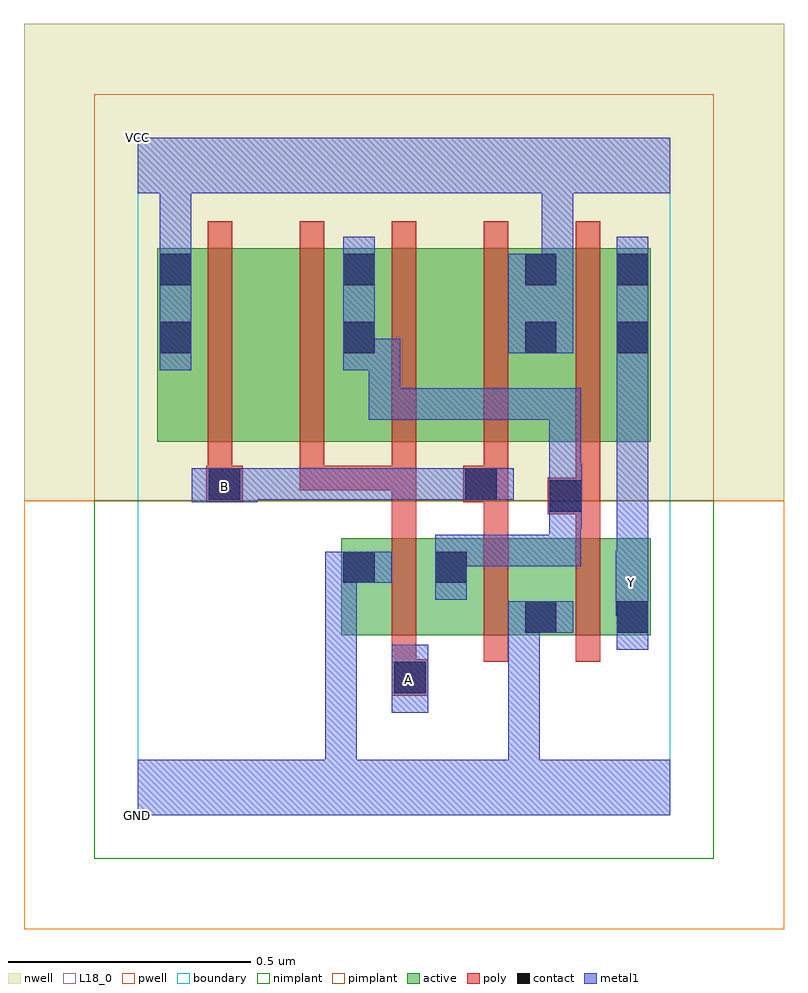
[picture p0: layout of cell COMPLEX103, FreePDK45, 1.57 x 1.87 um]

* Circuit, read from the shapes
.subckt COMPLEX103 A B GND VCC Y
M1 n1 A GND VSUBS nfet w=0.2u l=0.05u
M2 GND B n1 VSUBS nfet w=0.2u l=0.05u
M3 Y n1 GND VSUBS nfet w=0.2u l=0.05u
M4 n2 B VCC n3 pfet w=0.4u l=0.05u
M5 n1 A n2 n3 pfet w=0.4u l=0.05u
M6 n4 A n1 n3 pfet w=0.4u l=0.05u
M7 VCC B n4 n3 pfet w=0.4u l=0.05u
M8 Y n1 VCC n3 pfet w=0.4u l=0.05u
.ends

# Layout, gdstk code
import gdstk
lib = gdstk.Library(unit=1e-6, precision=1e-09)
def R(c, l, rs):  # rectangles x0, y0, x1, y1
    for r in rs: c.add(gdstk.rectangle(r[:2], r[2:], *l))
def A(c, l, x, y, w, h, nx, ny, dx, dy):  # array of equal rectangles
    R(c, l, [(x+i*dx, y+j*dy, x+i*dx+w, y+j*dy+h) for i in range(nx) for j in range(ny)])
active = (1, 0)
pwell = (2, 0)
nwell = (3, 0)
nimplant = (4, 0)
pimplant = (5, 0)
poly = (9, 0)
contact = (10, 0)
metal1 = (11, 0)
L18_0 = (18, 0)
boundary = (235, 0)

complex103 = lib.new_cell('COMPLEX103')
R(complex103, active, [(0.42,0.372,0.495,0.572), (0.42,0.372,0.685,0.572), (0.61,0.372,0.685,0.572), (0.61,0.372,0.87,0.572), (0.795,0.372,1.06,0.572), (0.795,0.372,0.87,0.447), (0.985,0.372,1.06,0.572), (0.04,0.772,0.265,1.172), (0.04,0.772,0.115,1.172), (0.265,0.772,0.495,1.172), (0.42,0.772,0.495,1.165), (0.42,0.772,0.645,1.172), (0.645,0.772,0.87,1.172), (0.795,0.772,1.06,1.172), (0.985,0.772,1.06,1.165), (0.795,0.835,0.87,1.172)])
R(complex103, pwell, [(-0.235,-0.235,1.335,0.65)])
R(complex103, nwell, [(-0.235,0.65,1.335,1.635)])
R(complex103, nimplant, [(-0.09,-0.09,1.19,0.65)])
R(complex103, pimplant, [(-0.09,0.65,1.19,1.49)])
A(complex103, poly, 0.145, 0.672, 0.05, 0.095, 4, 1, 0.19, 0)
A(complex103, poly, 0.145, 0.717, 0.05, 0.51, 5, 1, 0.19, 0)
R(complex103, poly, [(0.525,0.247,0.6,0.322), (0.525,0.272,0.575,0.367), (0.525,0.317,0.575,0.627), (0.715,0.317,0.765,0.627), (0.905,0.317,0.955,0.672), (0.525,0.577,0.575,0.722), (0.715,0.577,0.765,0.697), (0.847,0.622,0.955,0.697), (0.905,0.622,0.955,0.672), (0.142,0.647,0.217,0.722), (0.672,0.647,0.765,0.722), (0.905,0.647,0.955,0.767), (0.335,0.672,0.385,0.722), (0.335,0.672,0.385,0.722), (0.335,0.672,0.385,0.722), (0.335,0.672,0.575,0.722), (0.525,0.672,0.575,0.722)])
R(complex103, contact, [(0.53,0.252,0.595,0.317), (0.8,0.377,0.865,0.442), (0.99,0.377,1.055,0.442), (0.425,0.48,0.49,0.545), (0.615,0.48,0.68,0.545), (0.852,0.627,0.917,0.692), (0.147,0.652,0.212,0.717), (0.677,0.652,0.742,0.717), (0.045,0.955,0.11,1.02), (0.425,0.955,0.49,1.02), (0.8,0.955,0.865,1.02), (0.99,0.955,1.055,1.02), (0.045,1.095,0.11,1.16), (0.425,1.095,0.49,1.16), (0.8,1.095,0.865,1.16), (0.99,1.095,1.055,1.16)])
R(complex103, metal1, [(0,0,1.1,0.115), (0.387,0.05,0.452,0.115), (0.387,0.05,0.452,0.115), (0.387,0.05,0.452,0.115), (0.387,0.05,0.452,0.115), (0.387,0.05,0.452,0.545), (0.765,0.05,0.83,0.115), (0.765,0.05,0.83,0.115), (0.765,0.05,0.83,0.115), (0.765,0.05,0.83,0.115), (0.765,0.05,0.83,0.115), (0.765,0.05,0.83,0.115), (0.765,0.05,0.83,0.442), (0.525,0.212,0.6,0.352), (0.99,0.342,1.055,0.477), (0.765,0.377,0.9,0.442), (0.987,0.412,1.055,0.547), (0.99,0.412,1.055,0.477), (0.615,0.445,0.68,0.58), (0.387,0.48,0.452,0.545), (0.387,0.48,0.452,0.545), (0.387,0.48,0.525,0.545), (0.99,0.482,1.055,0.985), (0.615,0.515,0.68,0.58), (0.615,0.515,0.68,0.58), (0.615,0.515,0.915,0.58), (0.85,0.515,0.915,0.58), (0.85,0.515,0.915,0.727), (0.852,0.592,0.917,0.727), (0.112,0.647,0.247,0.717), (0.182,0.652,0.247,0.717), (0.182,0.652,0.247,0.717), (0.182,0.652,0.385,0.717), (0.32,0.652,0.385,0.717), (0.32,0.652,0.385,0.717), (0.32,0.652,0.385,0.717), (0.32,0.652,0.542,0.717), (0.477,0.652,0.542,0.717), (0.477,0.652,0.692,0.717), (0.627,0.652,0.692,0.717), (0.627,0.652,0.707,0.717), (0.642,0.652,0.777,0.717), (0.85,0.662,0.915,0.727), (0.85,0.662,0.917,0.727), (0.85,0.662,0.915,0.882), (0.477,0.817,0.692,0.882), (0.477,0.817,0.542,0.985), (0.627,0.817,0.692,0.882), (0.627,0.817,0.692,0.882), (0.627,0.817,0.692,0.882), (0.627,0.817,0.915,0.882), (0.85,0.817,0.915,0.882), (0.045,0.92,0.11,1.195), (0.425,0.92,0.49,1.195), (0.425,0.92,0.542,0.985), (0.99,0.92,1.055,1.195), (0.765,0.955,0.9,1.16), (0.835,1.095,0.9,1.35), (0.045,1.13,0.11,1.35), (0,1.285,1.1,1.4), (0.045,1.285,0.11,1.35), (0.045,1.285,0.11,1.35), (0.835,1.285,0.9,1.35), (0.835,1.285,0.9,1.35)])
R(complex103, L18_0, [(0,0,1.1,0.115), (0.387,0.05,0.452,0.115), (0.387,0.05,0.452,0.115), (0.387,0.05,0.452,0.115), (0.387,0.05,0.452,0.115), (0.387,0.05,0.452,0.545), (0.765,0.05,0.83,0.115), (0.765,0.05,0.83,0.115), (0.765,0.05,0.83,0.115), (0.765,0.05,0.83,0.115), (0.765,0.05,0.83,0.115), (0.765,0.05,0.83,0.115), (0.765,0.05,0.83,0.442), (0.525,0.212,0.6,0.352), (0.527,0.247,0.592,0.312), (0.99,0.342,1.055,0.477), (0.765,0.377,0.9,0.442), (0.987,0.412,1.055,0.547), (0.99,0.412,1.055,0.477), (0.987,0.447,1.052,0.512), (0.387,0.48,0.452,0.545), (0.387,0.48,0.452,0.545), (0.387,0.48,0.525,0.545), (0.99,0.482,1.055,0.985), (0.112,0.647,0.247,0.717), (0.147,0.647,0.212,0.712), (0.182,0.652,0.247,0.717), (0.182,0.652,0.247,0.717), (0.182,0.652,0.385,0.717), (0.32,0.652,0.385,0.717), (0.32,0.652,0.385,0.717), (0.32,0.652,0.385,0.717), (0.32,0.652,0.542,0.717), (0.477,0.652,0.542,0.717), (0.477,0.652,0.692,0.717), (0.627,0.652,0.692,0.717), (0.627,0.652,0.707,0.717), (0.642,0.652,0.777,0.717), (0.045,0.92,0.11,1.195), (0.99,0.92,1.055,1.195), (0.765,0.955,0.9,1.16), (0.835,1.095,0.9,1.35), (0.045,1.13,0.11,1.35), (0,1.285,1.1,1.4), (0.045,1.285,0.11,1.35), (0.045,1.285,0.11,1.35), (0.835,1.285,0.9,1.35), (0.835,1.285,0.9,1.35)])
R(complex103, boundary, [(0,0,1.1,1.4)])
complex103.add(gdstk.Label('A', (0.56,0.28), layer=11, texttype=0))
complex103.add(gdstk.Label('B', (0.18,0.68), layer=11, texttype=0))
complex103.add(gdstk.Label('Y', (1.02,0.48), layer=11, texttype=0))
complex103.add(gdstk.Label('VCC', (0,1.4), layer=11, texttype=0))
complex103.add(gdstk.Label('GND', (0,0), layer=11, texttype=0))

lib.write_gds('COMPLEX103.gds')
